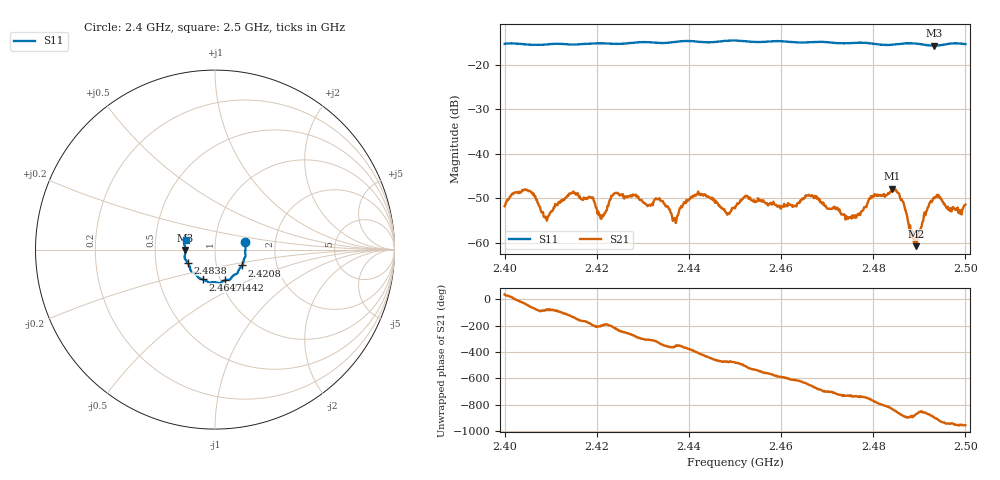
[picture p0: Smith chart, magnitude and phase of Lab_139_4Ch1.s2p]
# Hz S RI R 50
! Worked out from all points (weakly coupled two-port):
!   601 points, 2.4 GHz to 2.5 GHz, reference 50 ohm
!   highest |S21| = -47.86 dB at 2.4842 GHz (marker M1); lowest = -60.8 dB at 2.4893 GHz (marker M2)
!   lowest |S11| = -15.6 dB at 2.4932 GHz (marker M3), VSWR 1.40, Z = 35.8 - j0.117 ohm
!   |S11| at or under -10 dB: start of sweep to end of sweep
!   S12 and S22 are empty: the file has one direction only
!   S11 on the Smith chart (normalised r, x): 2.4 GHz: 1.40, +0.12; 2.4208 GHz: 1.33, -0.24; 2.4442 GHz: 1.05, -0.37; 2.4647 GHz: 0.83, -0.29; 2.4838 GHz: 0.73, -0.11; 2.5 GHz: 0.71, +0.08
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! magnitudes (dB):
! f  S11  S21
! 2.4 GHz  -15.2  -51.8
! 2.405 GHz  -15.4  -48.2
! 2.409 GHz  -15.4  -54.1
! 2.4145 GHz  -15.4  -48.9
! 2.4167 GHz  -15.3  -50.2
! 2.4208 GHz  -15.1  -54.6
! 2.424 GHz  -15.2  -48.8
! 2.4333 GHz  -15.0  -50.3
! 2.4368 GHz  -14.8  -54.5
! 2.4408 GHz  -14.6  -49.4
! 2.4442 GHz  -14.9  -49.6
! 2.45 GHz  -14.5  -52.3
! 2.4647 GHz  -14.9  -50.0
! 2.4667 GHz  -14.8  -49.3
! 2.4748 GHz  -15.1  -54.3
! 2.4833 GHz  -15.5  -49.0
! 2.4838 GHz  -15.5  -48.4
! 2.4842 GHz  -15.4  -47.9
! 2.486 GHz  -15.2  -50.4
! 2.4893 GHz  -15.2  -60.8
! 2.4932 GHz  -15.6  -49.8
! 2.5 GHz  -15.3  -51.4
